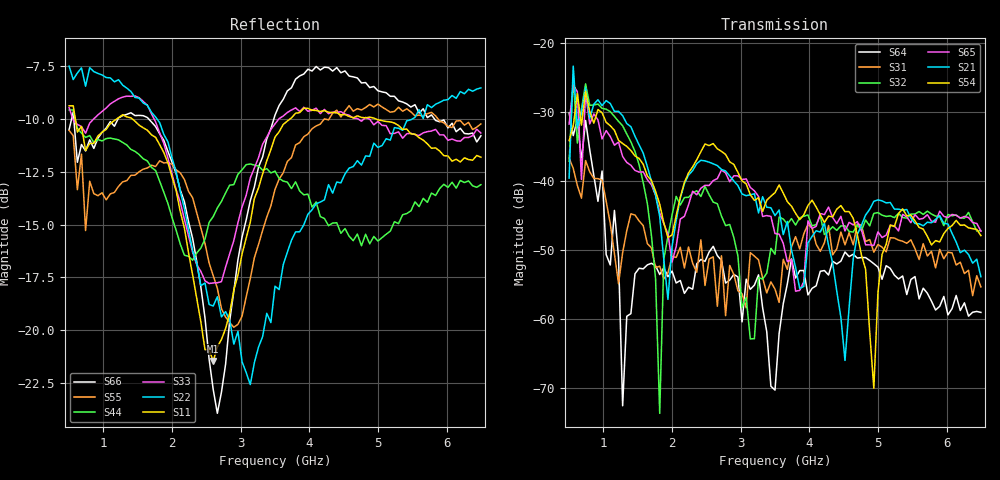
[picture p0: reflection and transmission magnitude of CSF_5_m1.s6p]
!Keysight Technologies,M9804A,MY58100912,A.14.10.03
!Date: Thursday, April 27, 2023 10:28:33
!Correction: S11(C  6-Port  )
!S12(C  6-Port  )
!S13(C  6-Port  )
!S14(C  6-Port  )
!S15(C  6-Port  )
!S16(C  6-Port  )
!S21(C  6-Port  )
!S22(C  6-Port  )
!S23(C  6-Port  )
!S24(C  6-Port  )
!S25(C  6-Port  )
!S26(C  6-Port  )
!S31(C  6-Port  )
!S32(C  6-Port  )
!S33(C  6-Port  )
!S34(C  6-Port  )
!S35(C  6-Port  )
!S36(C  6-Port  )
!S41(C  6-Port  )
!S42(C  6-Port  )
!S43(C  6-Port  )
!S44(C  6-Port  )
!S45(C  6-Port  )
!S46(C  6-Port  )
!S51(C  6-Port  )
!S52(C  6-Port  )
!S53(C  6-Port  )
!S54(C  6-Port  )
!S55(C  6-Port  )
!S56(C  6-Port  )
!S61(C  6-Port  )
!S62(C  6-Port  )
!S63(C  6-Port  )
!S64(C  6-Port  )
!S65(C  6-Port  )
!S66(C  6-Port  )
!S6P File: Measurement: :
# Hz S  RI  R 50
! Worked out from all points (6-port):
!   101 points, 500 MHz to 6.5 GHz, reference 50 ohm
!   strongest paths, dB at 500 MHz, 2 GHz, 3.5 GHz, 5 GHz, 6.5 GHz:
!     S54: -34.2, -47.8, -41.7, -56.2, -47.9
!     S21: -39.6, -49.5, -45.0, -42.8, -53.9
!     S65: -31.8, -51.8, -47.6, -47.4, -47.3
!     S32: -37.2, -44.9, -50.6, -44.6, -47.2
!     S31: -36.7, -50.9, -55.7, -49.2, -55.3
!     S64: -30.2, -53.1, -70.3, -52.5, -59.0
!   lowest |S11| = -21.5 dB at 2.6 GHz (marker M1), VSWR 1.18, Z = 42.5 + j2.23 ohm
!   |S11| at or under -10 dB: 590.5 MHz to 1.19 GHz (599.1 MHz wide, 67.3 % of centre); 1.423 GHz to 3.716 GHz (2.293 GHz wide, 89.2 % of centre); 4.976 GHz to end of sweep
